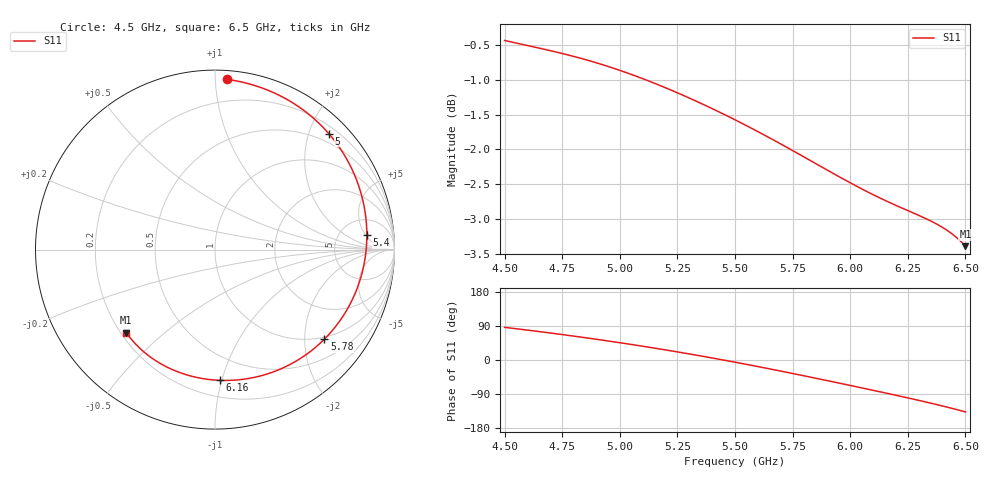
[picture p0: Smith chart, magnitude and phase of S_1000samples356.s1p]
! TOUCHSTONE file generated by CST MICROWAVE STUDIO
! Date and time: Thu Oct 27 21:26:05 2022
! Project name: L.cst
! Parameters = {Di=1.27; Epsilon_r=1.56; InnerDiameter=1.27; Length=2; Lf=10; Lg=60; OuterConductorThickness=0.2921; OuterDiameter=3.6; Wf=3; Wp=41.2; de=1.5; df=6.8; g=0.8; gx=1.65707; gy=3.07531; h=2.34; hf=1.524; px=8.15426; py=12.3407; w=9.7; wx=6.49719; wy=9.26535}
! Header version: 2018
! Port assignment regex: !\s*Touchstone port\s*([0-9]+)\s*=\s*(CST MWS port|CST DS port)\s*([0-9]+|Zmin|Zmax)\s*\(\"(.*)\"\)(\s*mode\s*([0-9]+))?.*
! Touchstone port assignment:
! Touchstone port 1 = CST MWS port 1 ("")
# GHz S DB R 50
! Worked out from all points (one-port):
!   101 points, 4.5 GHz to 6.5 GHz, reference 50 ohm
!   lowest |S11| = -3.4 dB at 6.5 GHz (marker M1), VSWR 5.19, Z = 11.1 - j18.9 ohm
!   |S11| at or under -10 dB: nowhere
!   S11 on the Smith chart (normalised r, x): 4.5 GHz: 0.05, +1.07; 5 GHz: 0.33, +2.34; 5.4 GHz: 9, +5; 5.78 GHz: 0.95, -2.49; 6.16 GHz: 0.32, -0.98; 6.5 GHz: 0.22, -0.38
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4.5  -0.43 86.1
4.64  -0.54 75.8
4.76  -0.63 66.3
4.88  -0.74 56.3
5  -0.86 45.6
5.06  -0.94 40.0
5.14  -1.04 32.4
5.2  -1.12 26.4
5.26  -1.20 20.3
5.34  -1.32 11.9
5.4  -1.41 5.4
5.5  -1.57 -5.8
5.56  -1.68 -12.7
5.62  -1.78 -19.8
5.68  -1.89 -27.0
5.76  -2.04 -36.8
5.78  -2.07 -39.3
5.84  -2.18 -46.8
5.9  -2.30 -54.4
6  -2.48 -67.1
6.08  -2.62 -77.5
6.16  -2.75 -87.9
6.22  -2.84 -95.9
6.26  -2.89 -101.3
6.32  -2.98 -109.7
6.38  -3.08 -118.3
6.44  -3.21 -127.3
6.5  -3.39 -136.9
